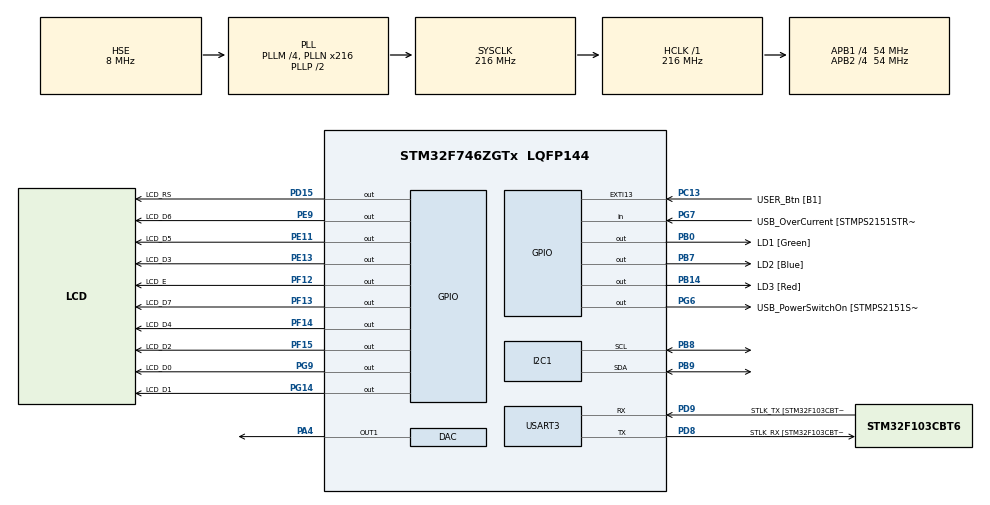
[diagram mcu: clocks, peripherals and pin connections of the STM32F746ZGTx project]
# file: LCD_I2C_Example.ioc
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Dma.I2C1_RX.1.Direction=DMA_PERIPH_TO_MEMORY
Dma.I2C1_RX.1.FIFOMode=DMA_FIFOMODE_DISABLE
Dma.I2C1_RX.1.Instance=DMA1_Stream0
Dma.I2C1_RX.1.MemDataAlignment=DMA_MDATAALIGN_BYTE
Dma.I2C1_RX.1.MemInc=DMA_MINC_ENABLE
Dma.I2C1_RX.1.Mode=DMA_NORMAL
Dma.I2C1_RX.1.PeriphDataAlignment=DMA_PDATAALIGN_BYTE
Dma.I2C1_RX.1.PeriphInc=DMA_PINC_DISABLE
Dma.I2C1_RX.1.Priority=DMA_PRIORITY_LOW
Dma.I2C1_TX.0.Direction=DMA_MEMORY_TO_PERIPH
Dma.I2C1_TX.0.FIFOMode=DMA_FIFOMODE_DISABLE
Dma.I2C1_TX.0.Instance=DMA1_Stream6
Dma.I2C1_TX.0.MemDataAlignment=DMA_MDATAALIGN_BYTE
Dma.I2C1_TX.0.MemInc=DMA_MINC_ENABLE
Dma.I2C1_TX.0.Mode=DMA_NORMAL
Dma.I2C1_TX.0.PeriphDataAlignment=DMA_PDATAALIGN_BYTE
Dma.I2C1_TX.0.PeriphInc=DMA_PINC_DISABLE
Dma.I2C1_TX.0.Priority=DMA_PRIORITY_LOW
Dma.Request0=I2C1_TX
Dma.Request1=I2C1_RX
I2C1.Timing=0x20404768
Mcu.Family=STM32F7
Mcu.Name=STM32F746ZGTx
Mcu.Package=LQFP144
NVIC.DMA1_Stream0_IRQn=true\:0\:0\:false\:false\:true\:false\:true\:true
NVIC.DMA1_Stream6_IRQn=true\:0\:0\:false\:false\:true\:false\:true\:true
NVIC.I2C1_ER_IRQn=true\:0\:0\:false\:false\:true\:true\:true\:true
NVIC.I2C1_EV_IRQn=true\:0\:0\:false\:false\:true\:true\:true\:true
NVIC.PriorityGroup=NVIC_PRIORITYGROUP_4
NVIC.USART3_IRQn=true\:0\:0\:false\:false\:true\:true\:true\:true
PA1.GPIO_Label=RMII_REF_CLK [LAN8742A-CZ-TR_REFCLK0]
PA1.Signal=ETH_REF_CLK
PA10.GPIO_Label=USB_ID
PA10.Signal=USB_OTG_FS_ID
PA11.GPIO_Label=USB_DM
PA11.Signal=USB_OTG_FS_DM
PA12.GPIO_Label=USB_DP
PA12.Signal=USB_OTG_FS_DP
PA13.GPIO_Label=TMS
PA13.Mode=Serial_Wire
PA13.Signal=SYS_JTMS-SWDIO
PA14.GPIO_Label=TCK
PA14.Mode=Serial_Wire
PA14.Signal=SYS_JTCK-SWCLK
PA2.GPIO_Label=RMII_MDIO [LAN8742A-CZ-TR_MDIO]
PA2.Signal=ETH_MDIO
PA4.Signal=COMP_DAC1_group
PA7.GPIO_Label=RMII_CRS_DV [LAN8742A-CZ-TR_CRS_DV]
PA7.Signal=ETH_CRS_DV
PA8.GPIO_Label=USB_SOF [TP1]
PA8.Signal=USB_OTG_FS_SOF
PA9.GPIO_Label=USB_VBUS
PA9.Signal=USB_OTG_FS_VBUS
PB0.GPIO_Label=LD1 [Green]
PB0.Signal=GPIO_Output
PB13.GPIO_Label=RMII_TXD1 [LAN8742A-CZ-TR_TXD1]
PB13.Signal=ETH_TXD1
PB14.GPIO_Label=LD3 [Red]
PB14.Signal=GPIO_Output
PB3.GPIO_Label=SW0
PB3.Signal=SYS_JTDO-SWO
PB7.GPIO_Label=LD2 [Blue]
PB7.Signal=GPIO_Output
PB8.Mode=I2C
PB8.Signal=I2C1_SCL
PB9.Mode=I2C
PB9.Signal=I2C1_SDA
PC1.GPIO_Label=RMII_MDC [LAN8742A-CZ-TR_MDC]
PC1.Signal=ETH_MDC
PC13.GPIO_Label=USER_Btn [B1]
PC13.Signal=GPXTI13
PC14/OSC32_IN.Mode=LSE-External-Oscillator
PC14/OSC32_IN.Signal=RCC_OSC32_IN
PC15/OSC32_OUT.Mode=LSE-External-Oscillator
PC15/OSC32_OUT.Signal=RCC_OSC32_OUT
PC4.GPIO_Label=RMII_RXD0 [LAN8742A-CZ-TR_RXD0]
PC4.Signal=ETH_RXD0
PC5.GPIO_Label=RMII_RXD1 [LAN8742A-CZ-TR_RXD1]
PC5.Signal=ETH_RXD1
PD15.GPIO_Label=LCD_RS
PD15.Signal=GPIO_Output
PD8.GPIO_Label=STLK_RX [STM32F103CBT6_PA3]
PD8.GPIO_PuPd=GPIO_PULLUP
PD8.Mode=Asynchronous
PD8.Signal=USART3_TX
PD9.GPIO_Label=STLK_TX [STM32F103CBT6_PA2]
PD9.GPIO_PuPd=GPIO_PULLUP
PD9.Mode=Asynchronous
PD9.Signal=USART3_RX
PE11.GPIO_Label=LCD_D5
PE11.Signal=GPIO_Output
PE13.GPIO_Label=LCD_D3
PE13.Signal=GPIO_Output
PE9.GPIO_Label=LCD_D6
PE9.Signal=GPIO_Output
PF12.GPIO_Label=LCD_E
PF12.Signal=GPIO_Output
PF13.GPIO_Label=LCD_D7
PF13.Signal=GPIO_Output
PF14.GPIO_Label=LCD_D4
PF14.Signal=GPIO_Output
PF15.GPIO_Label=LCD_D2
PF15.Signal=GPIO_Output
PG11.GPIO_Label=RMII_TX_EN [LAN8742A-CZ-TR_TXEN]
PG11.Signal=ETH_TX_EN
PG13.GPIO_Label=RMII_TXD0 [LAN8742A-CZ-TR_TXD0]
PG13.Signal=ETH_TXD0
PG14.GPIO_Label=LCD_D1
PG14.Signal=GPIO_Output
PG6.GPIO_Label=USB_PowerSwitchOn [STMPS2151STR_EN]
PG6.Signal=GPIO_Output
PG7.GPIO_Label=USB_OverCurrent [STMPS2151STR_FAULT]
PG7.Signal=GPIO_Input
PG9.GPIO_Label=LCD_D0
PG9.Signal=GPIO_Output
PH0/OSC_IN.GPIO_Label=MCO [STM32F103CBT6_PA8]
PH0/OSC_IN.Mode=HSE-External-Clock-Source
PH0/OSC_IN.Signal=RCC_OSC_IN
PH1/OSC_OUT.Mode=HSE-External-Clock-Source
PH1/OSC_OUT.Signal=RCC_OSC_OUT
ProjectManager.HeapSize=0x200
ProjectManager.StackSize=0x400
ProjectManager.TargetToolchain=STM32CubeIDE
RCC.48MHZClocksFreq_Value=24000000
RCC.AHBFreq_Value=216000000
RCC.APB1CLKDivider=RCC_HCLK_DIV4
RCC.APB1Freq_Value=54000000
RCC.APB1TimFreq_Value=108000000
RCC.APB2CLKDivider=RCC_HCLK_DIV4
RCC.APB2Freq_Value=54000000
RCC.APB2TimFreq_Value=108000000
RCC.CortexFreq_Value=216000000
RCC.HCLKFreq_Value=216000000
RCC.HSE_VALUE=8000000
RCC.HSI_VALUE=16000000
RCC.PLLM=4
RCC.PLLMUL=RCC_PLL_MUL9
RCC.PLLN=216
RCC.PLLQ=3
RCC.PLLSourceVirtual=RCC_PLLSOURCE_HSE
RCC.PRESCALERUSB=RCC_USBCLKSOURCE_PLL_DIV1_5
RCC.SYSCLKFreq_VALUE=216000000
RCC.SYSCLKSource=RCC_SYSCLKSOURCE_PLLCLK
RCC.SYSCLKSourceVirtual=RCC_SYSCLKSOURCE_PLLCLK
RCC.USBFreq_Value=144000000
RCC.VCOOutputFreq_Value=432000000
SH.COMP_DAC1_group.0=DAC_OUT1,DAC_OUT1
TIM7.Prescaler=107
USART3.VirtualMode-Asynchronous=VM_ASYNC
VP_TIM7_VS_ClockSourceINT.Mode=Enable_Timer
board=NUCLEO-F746ZG

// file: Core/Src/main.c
/* USER CODE BEGIN Header */
/**
  ******************************************************************************
  * @file           : main.c
  * @brief          : Main program body
  ******************************************************************************
  * @attention
  *
  * Copyright (c) 2023 STMicroelectronics.
  * All rights reserved.
  *
  * This software is licensed under terms that can be found in the LICENSE file
  * in the root directory of this software component.
  * If no LICENSE file comes with this software, it is provided AS-IS.
  *
  ******************************************************************************
  */
/* USER CODE END Header */
#include "main.h"
#include "dac.h"
#include "dma.h"
#include "i2c.h"
#include "tim.h"
#include "usart.h"
#include "gpio.h"

/* USER CODE BEGIN Includes */
#include "lcd_config.h"

//#include "lcd_hd44780_i2c.h"
/* USER CODE END Includes */

/* USER CODE BEGIN PV */
unsigned char character;
char text[LCD_LINE_BUF_LEN];
unsigned int i = 0;
/* USER CODE END PV */

void SystemClock_Config(void);

/* USER CODE BEGIN 0 */

/**
  * @brief  Rx Transfer completed callback.
  * @param  huart UART handle.
  * @retval None
  */
void HAL_UART_RxCpltCallback(UART_HandleTypeDef *huart)
{
  text[i] = character;
  i = (i >= LCD_LINE_LEN-1) ? (0) : (i+1);
  HAL_UART_Receive_IT(&huart3, &character, 1);
}

/* USER CODE END 0 */

int main(void)
{

  /* MCU Configuration--------------------------------------------------------*/

  /* Reset of all peripherals, Initializes the Flash interface and the Systick. */
  HAL_Init();

  /* Configure the system clock */
  SystemClock_Config();

  /* Initialize all configured peripherals */
  MX_GPIO_Init();
  MX_DMA_Init();
  MX_TIM7_Init();
  MX_DAC_Init();
  MX_I2C1_Init();
  MX_USART3_UART_Init();
  /* USER CODE BEGIN 2 */

  /* contrast voltage */
  /*
  HAL_DAC_Start(&hdac, DAC_CHANNEL_1);
  HAL_DAC_SetValue(&hdac, DAC_CHANNEL_1, DAC_ALIGN_12B_R, 700);
  */

  /* 4-bit interface */
  /*
  LCD_DIO_Init(&hlcd1);
  LCD_DIO_printStr(&hlcd1, "4-bit interface");
  LCD_DIO_SetCursor(&hlcd1, 1, 0);
  LCD_DIO_printStr(&hlcd1, ">");
  LCD_DIO_SetCursor(&hlcd1, 1, 0);
  */

  /* 8-bit interface */
  /*
  LCD_DIO_Init(&hlcd2);
  LCD_DIO_printStr(&hlcd2, "8-bit interface");
  LCD_DIO_SetCursor(&hlcd2, 1, 0);
  LCD_DIO_printStr(&hlcd2, ">");
  LCD_DIO_SetCursor(&hlcd2, 1, 0);
  */

  LCD_I2C_Init(&hlcd3);
  LCD_I2C_printStr(&hlcd3, "I2C interface");
  LCD_I2C_SetCursor(&hlcd3, 1, 0);
  LCD_I2C_printStr(&hlcd3, ">");

  uint8_t smiley_1[] = {
      0b00000000,
      0b00001100,
      0b00000010,
      0b00010001,
      0b00000001,
      0b00010001,
      0b00000010,
      0b00001100
  };

  uint8_t smiley_2[] = {
      0b00001100,
      0b00000010,
      0b00010001,
      0b00000001,
      0b00010001,
      0b00000010,
      0b00001100,
      0b00000000
  };

  LCD_I2C_DefineChar(&hlcd3, 1, smiley_1);
  LCD_I2C_DefineChar(&hlcd3, 2, smiley_2);

  LCD_I2C_SetCursor(&hlcd3, 1, 1);

  HAL_UART_Receive_IT(&huart3, &character, 1);

  /* USER CODE END 2 */

  /* Infinite loop */
  /* USER CODE BEGIN WHILE */
  while (1)
  {
    if(text[0] != '\0')
    {
      LCD_I2C_printStr(&hlcd3, text);
      LCD_I2C_SetCursor(&hlcd3, 1, 1);
      HAL_Delay(100);
    }
    /* USER CODE END WHILE */

  }
}

void SystemClock_Config(void)
{
  RCC_OscInitTypeDef RCC_OscInitStruct = {0};
  RCC_ClkInitTypeDef RCC_ClkInitStruct = {0};

  /** Configure LSE Drive Capability
  */
  HAL_PWR_EnableBkUpAccess();

  /** Configure the main internal regulator output voltage
  */
  __HAL_RCC_PWR_CLK_ENABLE();
  __HAL_PWR_VOLTAGESCALING_CONFIG(PWR_REGULATOR_VOLTAGE_SCALE1);

  /** Initializes the RCC Oscillators according to the specified parameters
  * in the RCC_OscInitTypeDef structure.
  */
  RCC_OscInitStruct.OscillatorType = RCC_OSCILLATORTYPE_HSE;
  RCC_OscInitStruct.HSEState = RCC_HSE_BYPASS;
  RCC_OscInitStruct.PLL.PLLState = RCC_PLL_ON;
  RCC_OscInitStruct.PLL.PLLSource = RCC_PLLSOURCE_HSE;
  RCC_OscInitStruct.PLL.PLLM = 4;
  RCC_OscInitStruct.PLL.PLLN = 216;
  RCC_OscInitStruct.PLL.PLLP = RCC_PLLP_DIV2;
  RCC_OscInitStruct.PLL.PLLQ = 3;
  if (HAL_RCC_OscConfig(&RCC_OscInitStruct) != HAL_OK)
  {
    Error_Handler();
  }

  /** Activate the Over-Drive mode
  */
  if (HAL_PWREx_EnableOverDrive() != HAL_OK)
  {
    Error_Handler();
  }

  /** Initializes the CPU, AHB and APB buses clocks
  */
  RCC_ClkInitStruct.ClockType = RCC_CLOCKTYPE_HCLK|RCC_CLOCKTYPE_SYSCLK
                              |RCC_CLOCKTYPE_PCLK1|RCC_CLOCKTYPE_PCLK2;
  RCC_ClkInitStruct.SYSCLKSource = RCC_SYSCLKSOURCE_PLLCLK;
  RCC_ClkInitStruct.AHBCLKDivider = RCC_SYSCLK_DIV1;
  RCC_ClkInitStruct.APB1CLKDivider = RCC_HCLK_DIV4;
  RCC_ClkInitStruct.APB2CLKDivider = RCC_HCLK_DIV4;

  if (HAL_RCC_ClockConfig(&RCC_ClkInitStruct, FLASH_LATENCY_7) != HAL_OK)
  {
    Error_Handler();
  }
}

void Error_Handler(void)
{
  __disable_irq();
  while (1)
  {
  }
}
